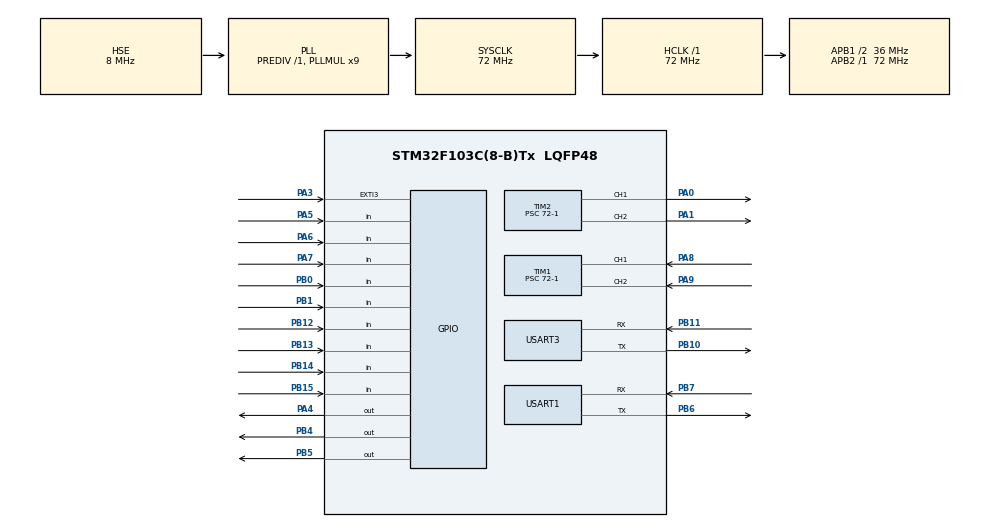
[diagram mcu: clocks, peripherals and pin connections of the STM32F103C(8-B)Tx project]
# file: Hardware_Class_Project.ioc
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Mcu.Family=STM32F1
Mcu.Name=STM32F103C(8-B)Tx
Mcu.Package=LQFP48
NVIC.EXTI3_IRQn=true\:4\:0\:true\:false\:true\:true\:true\:true
NVIC.PriorityGroup=NVIC_PRIORITYGROUP_4
NVIC.TIM1_CC_IRQn=true\:2\:0\:true\:false\:true\:true\:true\:true
NVIC.TIM3_IRQn=true\:3\:0\:true\:false\:true\:true\:true\:true
NVIC.USART1_IRQn=true\:0\:0\:false\:false\:true\:true\:true\:true
NVIC.USART3_IRQn=true\:1\:0\:true\:false\:true\:true\:true\:true
PA0-WKUP.Signal=S_TIM2_CH1_ETR
PA1.Signal=S_TIM2_CH2
PA13.Mode=Serial_Wire
PA13.Signal=SYS_JTMS-SWDIO
PA14.Mode=Serial_Wire
PA14.Signal=SYS_JTCK-SWCLK
PA3.GPIO_ModeDefaultEXTI=GPIO_MODE_IT_RISING
PA3.GPIO_PuPd=GPIO_PULLDOWN
PA3.Signal=GPXTI3
PA4.Signal=GPIO_Output
PA5.Signal=GPIO_Input
PA6.Signal=GPIO_Input
PA7.Signal=GPIO_Input
PA8.Signal=S_TIM1_CH1
PA9.Signal=S_TIM1_CH2
PB0.Signal=GPIO_Input
PB1.Signal=GPIO_Input
PB10.Mode=Asynchronous
PB10.Signal=USART3_TX
PB11.Mode=Asynchronous
PB11.Signal=USART3_RX
PB12.Signal=GPIO_Input
PB13.Signal=GPIO_Input
PB14.Signal=GPIO_Input
PB15.Signal=GPIO_Input
PB4.Signal=GPIO_Output
PB5.Signal=GPIO_Output
PB6.Mode=Asynchronous
PB6.Signal=USART1_TX
PB7.Mode=Asynchronous
PB7.Signal=USART1_RX
PD0-OSC_IN.Mode=HSE-External-Oscillator
PD0-OSC_IN.Signal=RCC_OSC_IN
PD1-OSC_OUT.Mode=HSE-External-Oscillator
PD1-OSC_OUT.Signal=RCC_OSC_OUT
ProjectManager.HeapSize=0x200
ProjectManager.StackSize=0x400
ProjectManager.TargetToolchain=MDK-ARM V5.32
RCC.AHBFreq_Value=72000000
RCC.APB1CLKDivider=RCC_HCLK_DIV2
RCC.APB1Freq_Value=36000000
RCC.APB1TimFreq_Value=72000000
RCC.APB2Freq_Value=72000000
RCC.APB2TimFreq_Value=72000000
RCC.HCLKFreq_Value=72000000
RCC.PLLMUL=RCC_PLL_MUL9
RCC.PLLSourceVirtual=RCC_PLLSOURCE_HSE
RCC.SYSCLKFreq_VALUE=72000000
RCC.SYSCLKSource=RCC_SYSCLKSOURCE_PLLCLK
RCC.USBFreq_Value=72000000
SH.S_TIM1_CH1.0=TIM1_CH1,Input_Capture1_from_TI1
SH.S_TIM1_CH2.0=TIM1_CH2,Input_Capture2_from_TI2
SH.S_TIM2_CH1_ETR.0=TIM2_CH1,PWM Generation1 CH1
SH.S_TIM2_CH2.0=TIM2_CH2,PWM Generation2 CH2
TIM1.Channel-Input_Capture1_from_TI1=TIM_CHANNEL_1
TIM1.Channel-Input_Capture2_from_TI2=TIM_CHANNEL_2
TIM1.Period=0xffff
TIM1.Prescaler=72-1
TIM2.Channel-PWM\ Generation1\ CH1=TIM_CHANNEL_1
TIM2.Channel-PWM\ Generation2\ CH2=TIM_CHANNEL_2
TIM2.Period=1000
TIM2.Prescaler=72-1
TIM3.Period=250-1
TIM3.Prescaler=7200-1
TIM4.Period=0xffff
TIM4.Prescaler=720-1
USART1.VirtualMode=VM_ASYNC
USART3.VirtualMode=VM_ASYNC
VP_TIM1_VS_ClockSourceINT.Mode=Internal
VP_TIM2_VS_ClockSourceINT.Mode=Internal
VP_TIM3_VS_ClockSourceINT.Mode=Internal
VP_TIM4_VS_ClockSourceINT.Mode=Internal
board=custom

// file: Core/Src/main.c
/* USER CODE BEGIN Header */
/**
  ******************************************************************************
  * @file           : main.c
  * @brief          : Main program body
  ******************************************************************************
  * @attention
  *
  * Copyright (c) 2023 STMicroelectronics.
  * All rights reserved.
  *
  * This software is licensed under terms that can be found in the LICENSE file
  * in the root directory of this software component.
  * If no LICENSE file comes with this software, it is provided AS-IS.
  *
  ******************************************************************************
  */
/* USER CODE END Header */
#include "main.h"
#include "tim.h"
#include "usart.h"
#include "gpio.h"

/* USER CODE BEGIN Includes */
#include "stdio.h"
#include <stdlib.h>
/* USER CODE END Includes */

/* USER CODE BEGIN PTD */
struct car_state
{
  float v_left;//左轮速度
  float v_right;//右轮速度
  float x_left;//左轮位移
  float x_right;//右轮位移
  float x_all;//总位移
  float v_target;//直线速度目标值 v_target=(v_left+v_right)/2
  float diff_v;//左轮和右轮的差速度
  uint8_t dis_line;//小车右侧距离黑线的距离
  uint8_t dis_target;
  uint8_t state;
  uint8_t task;
  float * x_left_targetArray;
};

struct pidstruct
{
  float kp,ki,kd;//p i d分别的系数，也是我们需要调节的值
  float p_value,i_value,d_value;//P项 I项 D项计算出来的值
  float i_integral;// 误差的积分值
  float thiserr,lasterr;//当前时刻的误差值 过去时刻的误差值 用于计算 i d
  unsigned char i_refresh_flag;
  unsigned char i_seprate_flag;
};

/* USER CODE END PTD */

/* USER CODE BEGIN PD */
#define threshold 25 //超声波阈值，大于判为无车，小于判为有车
#define wheel_len 20.42 //轮子周长 单位：cm
#define Speed_ratio 2564.1//编码器线数=13（每转一圈编码器产生的脉冲数） 减速比1：30  转速=1/(13*num*10^-6 *30) =2564.1/num (num为两次编码器脉冲之间测得的时钟计数个数)
/* USER CODE END PD */

/* USER CODE BEGIN PV */
GPIO_PinState judge1,judge2;
float catch1[3],catch2[3];//catch[0] 保存上次上升沿计数器的值 catch[1] 保存这次上升沿计数器的值 catch[2]保存两次计数器值的差
float mean_V1[10],mean_V2[10];
int index_V1,index_V2;
struct car_state now_car_state;
struct pidstruct Velocity_pidStruct_left;
struct pidstruct Velocity_pidStruct_right;
struct pidstruct Velocity_pidStruct_left_back;
struct pidstruct Velocity_pidStruct_right_back;
struct pidstruct Velocity_pidStruct_left_back_highspeed;
struct pidstruct Velocity_pidStruct_right_back_highspeed;
struct pidstruct* Velocity_pidStruct_left_points[3] = {&Velocity_pidStruct_left, &Velocity_pidStruct_left_back , &Velocity_pidStruct_left_back_highspeed};
struct pidstruct* Velocity_pidStruct_right_points[3] = {&Velocity_pidStruct_right, &Velocity_pidStruct_right_back , &Velocity_pidStruct_right_back_highspeed};
struct pidstruct Angle_pidStruct;
uint8_t Control_Flag = 1; //遥控模式的标志
uint8_t rx_buf1[2]={0,0};//uart1接收到的字符数据寄存数组
uint8_t rx_buf3[1]={0};//uart3接收到的字符数据寄存数组
//float x_left_targetArray1[6] = {0 , 0 , 32 , -20,15,-37};
float x_left_targetArray1[6] = {0 , 0 , 42 , -35,15,-26};
float x_left_targetArray2[6] = {0 , 25 , -38 , -17,9,0};
float distance;
int judge;
int judge_open_flag = 0; //开启超声波的标志 碰到第一个T字形之后置为1
/* USER CODE END PV */

void SystemClock_Config(void);
/* USER CODE BEGIN PFP */
void Wheel_Drive(int num,int pwm);
int fputc(int ch, FILE *f);
void HAL_TIM_IC_CaptureCallback(TIM_HandleTypeDef *htim);//输入捕获中断
// 小车状态结构体初始化函数 传入小车状态结构体、设定初始的目标公共速度、初始的差速度
void init_carStruct(struct car_state * now_car_state, float v_common, float v_diff);
//pid结构体初始化函数，分别传入kp ki kd值，以及要初始化的pid结构体的指针
void init_pidStruct( float kp, float ki, float kd, unsigned char i_refresh_flag, unsigned char i_seprate_flag, struct pidstruct * pidStruct_to_init);
//定时器2中断回调函数 进行PID更新
void HAL_TIM_PeriodElapsedCallback(TIM_HandleTypeDef *htim);
//pid输出值计算函数 传入已经初始化好的pid结构体的指针 此时的误差值 输出值（电压）的最大值 输出值的最小值 输出PID计算出的输出值
float PID(struct pidstruct * pidStruct_inited,float err,float outhigh,float outlow,unsigned char refresh_i_flag, unsigned char i_seprate_flag);
//串口中断回调函数
void HAL_UART_RxCpltCallback(UART_HandleTypeDef *huart);
void UART1_DataGet(uint8_t * databuf);
uint8_t infrared_value(int mode);/*mode1代表车头单路，mode2代表车尾单路，mode3代表五路*/
void WaveStart(void);
void HAL_GPIO_EXTI_Callback(uint16_t GPIO_Pin);
void UART3_DataGet(uint8_t * databuf);
/* USER CODE END PFP */

int main(void)
{

  /* MCU Configuration--------------------------------------------------------*/

  /* Reset of all peripherals, Initializes the Flash interface and the Systick. */
  HAL_Init();

  /* Configure the system clock */
  SystemClock_Config();

  /* Initialize all configured peripherals */
  MX_GPIO_Init();
  MX_TIM1_Init();
  MX_TIM2_Init();
  MX_USART1_UART_Init();
  MX_USART3_UART_Init();
  MX_TIM3_Init();
  MX_TIM4_Init();
  /* USER CODE BEGIN 2 */
  HAL_UART_Receive_IT(&huart1,rx_buf1,2);//等待uart1接收一个字节数据，并存入rxbuf1中
  HAL_UART_Receive_IT(&huart3,rx_buf3,2);//等待uart1接收一个字节数据，并存入rxbuf1中
  HAL_TIM_PWM_Start(&htim2,TIM_CHANNEL_1);//使能TIM2的PWM Channel1 输出 w1_pwm
  HAL_TIM_PWM_Start(&htim2,TIM_CHANNEL_2);//使能TIM2的PWM Channel2 输出 w2_pwm
  HAL_TIM_IC_Start_IT(&htim1,TIM_CHANNEL_1);//使能TIM1 CH3 CH4的输入捕获中断
  HAL_TIM_IC_Start_IT(&htim1,TIM_CHANNEL_2);
  __HAL_TIM_CLEAR_IT(&htim3,TIM_IT_UPDATE ); //清除IT标志位
	HAL_TIM_Base_Start_IT(&htim3);             //启动定时器3 定时器中断

  init_carStruct(&now_car_state, 0, 0.0);

  /********************v-target = 20 *****diff-v = 0 ***************************/
  // init_pidStruct(25, 0.8, 0.0,1, 0x0,  &Velocity_pidStruct_left);
  // init_pidStruct(25, 0.7, 0.0, 1, 0x0,&Velocity_pidStruct_right);
  /******************************************************************************/
  /********************v-target = -20 diff-v = 0 *******************************/
  init_pidStruct(25, 0.7, 0.0,1, 0x0,  &Velocity_pidStruct_left);
  init_pidStruct(25, 0.9, 0.0, 1, 0x0,&Velocity_pidStruct_right);
  /******************************************************************************/
  /********************v-target = 20 diff-v = 2 *********************************/
  // init_pidStruct(20, 0.5, 0.0,1, 0x0,  &Velocity_pidStruct_left);
  // init_pidStruct(40, 1.0, 0.0, 1, 0x0,&Velocity_pidStruct_right);
  /*******************************************************************************/
  /*******************v-target = -20 diff-v = 2 *********************************/
  // init_pidStruct(20, 0.8, 0.0,1, 0x0,  &Velocity_pidStruct_left);
  // init_pidStruct(40, 0.8, 0.0, 0, 0x0,&Velocity_pidStruct_right);
  /******************************************************************************/
  init_pidStruct(35, 0.15, 0.0,1, 0x80+10,  &Velocity_pidStruct_left_back);
  init_pidStruct(40, 0.15, 0.0, 1, 0x80+10,&Velocity_pidStruct_right_back);
  init_pidStruct(55, 0.15, 0.0,1, 0x80+15,  &Velocity_pidStruct_left_back_highspeed);
  init_pidStruct(52, 0.15, 0.0, 1, 0x80+15,&Velocity_pidStruct_right_back_highspeed);
  init_pidStruct(6, 0, 0, 0, 0x0, &Angle_pidStruct);//10

  /* USER CODE END 2 */

  /* Infinite loop */
  while (1)
  {

    /* USER CODE BEGIN 3 */
		WaveStart();
    HAL_Delay(200);

    //printf("judge = %d\tdistance=%.2f\n", judge, distance);

    //printf("state = %d, vt = %.2f\n", now_car_state.state, now_car_state.v_target);
    //printf("%d\n", infrared_value(3));
    //printf("vl=%.2f,vr=%.2f,vt=%.2f\n",now_car_state.v_left,now_car_state.v_right,now_car_state.v_target);
    //printf("%.2f,%.2f\n",now_car_state.v_left,now_car_state.v_right);
    // printf("dis_line = %.2f,diff_v = %.2f\n", now_car_state.dis_line, now_car_state.diff_v);
  }
  /* USER CODE END 3 */
}

void SystemClock_Config(void)
{
  RCC_OscInitTypeDef RCC_OscInitStruct = {0};
  RCC_ClkInitTypeDef RCC_ClkInitStruct = {0};

  /** Initializes the RCC Oscillators according to the specified parameters
  * in the RCC_OscInitTypeDef structure.
  */
  RCC_OscInitStruct.OscillatorType = RCC_OSCILLATORTYPE_HSE;
  RCC_OscInitStruct.HSEState = RCC_HSE_ON;
  RCC_OscInitStruct.HSEPredivValue = RCC_HSE_PREDIV_DIV1;
  RCC_OscInitStruct.HSIState = RCC_HSI_ON;
  RCC_OscInitStruct.PLL.PLLState = RCC_PLL_ON;
  RCC_OscInitStruct.PLL.PLLSource = RCC_PLLSOURCE_HSE;
  RCC_OscInitStruct.PLL.PLLMUL = RCC_PLL_MUL9;
  if (HAL_RCC_OscConfig(&RCC_OscInitStruct) != HAL_OK)
  {
    Error_Handler();
  }

  /** Initializes the CPU, AHB and APB buses clocks
  */
  RCC_ClkInitStruct.ClockType = RCC_CLOCKTYPE_HCLK|RCC_CLOCKTYPE_SYSCLK
                              |RCC_CLOCKTYPE_PCLK1|RCC_CLOCKTYPE_PCLK2;
  RCC_ClkInitStruct.SYSCLKSource = RCC_SYSCLKSOURCE_PLLCLK;
  RCC_ClkInitStruct.AHBCLKDivider = RCC_SYSCLK_DIV1;
  RCC_ClkInitStruct.APB1CLKDivider = RCC_HCLK_DIV2;
  RCC_ClkInitStruct.APB2CLKDivider = RCC_HCLK_DIV1;

  if (HAL_RCC_ClockConfig(&RCC_ClkInitStruct, FLASH_LATENCY_2) != HAL_OK)
  {
    Error_Handler();
  }
}

/* USER CODE BEGIN 4 */
void Wheel_Drive(int num,int pwm)
{
  if((num==1)||(num==2))
  {
    // 大小限幅 -1000<=pwm<=1000
    if(pwm>1000)
    {
      pwm=1000;
    }
    else if(pwm<-1000)
    {
      pwm=-1000;
    }
    switch(num)
    {
      case 1:
      {
        if(pwm>=0)
        {
          __HAL_TIM_SET_COMPARE(&htim2,TIM_CHANNEL_1,1000-pwm);
          HAL_GPIO_WritePin(GPIOB,GPIO_PIN_5,1);//w1_gpio_out 控制方向正转
        }
        else
        {
          __HAL_TIM_SET_COMPARE(&htim2,TIM_CHANNEL_1,-pwm);
          HAL_GPIO_WritePin(GPIOB,GPIO_PIN_5,0);//w1_gpio_out 控制方向反转
        }
      }
      break;
      case 2:
      {
        if(pwm>=0)
        {
          __HAL_TIM_SET_COMPARE(&htim2,TIM_CHANNEL_2,pwm);
          HAL_GPIO_WritePin(GPIOB,GPIO_PIN_4,0);//w2_gpio_out 控制方向正转
        }
        else
        {
          __HAL_TIM_SET_COMPARE(&htim2,TIM_CHANNEL_2,1000+pwm);
          HAL_GPIO_WritePin(GPIOB,GPIO_PIN_4,1);//w2_gpio_out 控制方向反转
        }
      }
      break;
      default:
      break;
    }
  }
}

int fputc(int ch, FILE *f)
{
	HAL_UART_Transmit(&huart1,(uint8_t*)&ch,1,10);
	return ch;
}

void HAL_TIM_IC_CaptureCallback(TIM_HandleTypeDef *htim)//输入捕获中断
{

  if(htim==&htim1 && htim->Channel == HAL_TIM_ACTIVE_CHANNEL_1)// w1
  {
      judge1=HAL_GPIO_ReadPin(GPIOB,GPIO_PIN_12);//捕获到w1B相上升沿时判断A相电平 高电平为正转，低电平为反转
      catch1[1] = HAL_TIM_ReadCapturedValue(htim,TIM_CHANNEL_1);//读取上升沿时计数器的值
      catch1[2] = catch1[1]- catch1[0];
      if(catch1[2]<=0)
      {
        catch1[2]+=0xffff;//两次上升沿出现在相邻的两个时钟周期
      }
      catch1[0] = catch1[1];//更新
      if(judge1 == GPIO_PIN_RESET)//正转
      {
          //now_car_state.x_left+=wheel_len/13/30;
          *(mean_V1+index_V1) = wheel_len/catch1[2]*Speed_ratio;
          index_V1++;
      }
      else//反转
      {
          //now_car_state.x_left-=wheel_len/13;
          *(mean_V1+index_V1) = -wheel_len/catch1[2]*Speed_ratio;
          index_V1++;
      }
      // *(mean_V1+index_V1) = wheel_len/catch1[2]*Speed_ratio;
      // index_V1++;
      if(index_V1==10)
      {
        now_car_state.v_left=(mean_V1[0]+mean_V1[1]+mean_V1[2]+mean_V1[3]+mean_V1[4]+mean_V1[5]+mean_V1[6]+mean_V1[7]+mean_V1[8]+mean_V1[9])/10;
        index_V1=0;
        //printf("%3.2lf\t",now_car_state.v_right);
      }
  }
    if(htim==&htim1 && htim->Channel == HAL_TIM_ACTIVE_CHANNEL_2)// w2
  {
      judge2=HAL_GPIO_ReadPin(GPIOB,GPIO_PIN_13);//捕获到w2B相上升沿时判断A相电平 高电平为正转，低电平为反转
      catch2[1] = HAL_TIM_ReadCapturedValue(htim,TIM_CHANNEL_2);//读取上升沿时计数器的值
      catch2[2] = catch2[1]- catch2[0];
      if(catch2[2]<=0)
      {
        catch2[2]+=0xffff;//两次上升沿出现在相邻的两个时钟周期
      }
      catch2[0] = catch2[1];//更新
      if(judge2 == GPIO_PIN_SET)//正转
      {
          now_car_state.x_right+=wheel_len/13/30;
          *(mean_V2+index_V2) = wheel_len/catch2[2]*Speed_ratio;
          index_V2++;
      }
      else//反转
      {
          now_car_state.x_right-=wheel_len;
          *(mean_V2+index_V2) = -wheel_len/catch2[2]*Speed_ratio;
          index_V2++;
      }
      // *(mean_V2+index_V2) = wheel_len/catch2[2]*Speed_ratio;
      // index_V2++;
      if(index_V2==10)
      {
        now_car_state.v_right=(mean_V2[0]+mean_V2[1]+mean_V2[2]+mean_V2[3]+mean_V2[4]+mean_V2[5]+mean_V2[6]+mean_V2[7]+mean_V2[8]+mean_V2[9])/10;
        //printf("%3.2lf\t",now_car_state.v_left);
        index_V2=0;
      }
  }

  //printf("%d\t",judge2);
}

// 小车状态结构体初始化函数 传入小车状态结构体、设定初始的目标公共速度、初始的差速度
void init_carStruct(struct car_state * now_car_state, float v_common, float v_diff)
{
  now_car_state->v_target = v_common;
  now_car_state->diff_v = v_diff;
  now_car_state->v_left = 0.0;
  now_car_state->v_right = 0.0;
  now_car_state->x_left = 0.0;
  now_car_state->x_right= 0.0;
  now_car_state->x_all = 0.0;
  now_car_state->dis_line = 0;
  now_car_state->state=0;//初始化为循迹模式
  now_car_state->task=0;//初始化为倒车入库任务
  now_car_state->x_left_targetArray = x_left_targetArray1;
}

//pid结构体初始化函数，分别传入kp ki kd值，以及要初始化的pid结构体的指针
void init_pidStruct( float kp, float ki, float kd, unsigned char i_refresh_flag, unsigned char i_seprate_flag, struct pidstruct * pidStruct_to_init)
{
  pidStruct_to_init->kp=kp;
  pidStruct_to_init->ki=ki;
  pidStruct_to_init->kd=kd;
  pidStruct_to_init->p_value=0;
  pidStruct_to_init->i_value=0;
  pidStruct_to_init->d_value=0;
  pidStruct_to_init->lasterr=0;
  pidStruct_to_init->thiserr=0;
  pidStruct_to_init->i_integral=0;
  pidStruct_to_init->i_refresh_flag = i_refresh_flag;
  pidStruct_to_init->i_seprate_flag = i_seprate_flag;
}

//pid输出值计算函数 传入已经初始化好的pid结构体的指针 此时的误差值 输出值（电压）的最大值 输出值的最小值 输出PID计算出的输出值
float PID(struct pidstruct * pidStruct_inited,float err,float outhigh,float outlow,unsigned char refresh_i_flag, unsigned char i_seprate_flag)
{
  float out_value;
  pidStruct_inited->thiserr = err;
  pidStruct_inited->p_value = pidStruct_inited->kp * pidStruct_inited->thiserr;//对当前误差值进行线性放大
  //积分项和微分项本应该还要乘以（除以）驱动周期T 但由于一般采用的是定时器中断进行驱动 所以T为常数 可以归为Ki Kd的值里面
  if((i_seprate_flag & 0x10 == 0x80) && (abs(err) > i_seprate_flag & 0x7f)) // 当采用积分分离模式并且误差值太大时，积分项为0
  {
    pidStruct_inited->i_value = 0.0;
  }
  else // 当不采用积分分离模式或者采用积分分离模式但是误差值较小时 进行积分项的计算
  {
    pidStruct_inited->i_integral += err;
    pidStruct_inited->i_value = pidStruct_inited->ki * (pidStruct_inited->i_integral);//对误差值进行累加和
    if(refresh_i_flag == 1)
    {
      if(pidStruct_inited->i_value > 0.5*outhigh || pidStruct_inited->i_value < 0.5*outlow)
      {
          init_pidStruct(pidStruct_inited->kp,pidStruct_inited->ki,pidStruct_inited->kd,pidStruct_inited->i_refresh_flag, pidStruct_inited->i_seprate_flag, pidStruct_inited);
      }
    }
  }
  pidStruct_inited->d_value = pidStruct_inited->kd * (pidStruct_inited->thiserr - pidStruct_inited->lasterr);//对误差值进行差分
  pidStruct_inited->lasterr = pidStruct_inited->thiserr;//更新误差
  out_value = pidStruct_inited->p_value + pidStruct_inited->i_value + pidStruct_inited->d_value;
  //对输出值进行限幅

  if(out_value > outhigh)
  {
    out_value = outhigh;
  }
  else if(out_value < outlow)
  {
    out_value = outlow;
  }
  return out_value;
}

//定时器2中断回调函数 进行PID更新
void HAL_TIM_PeriodElapsedCallback(TIM_HandleTypeDef *htim)
{
  int pidOUTpwm1_v,pidOUTpwm2_v;
	if(htim == &htim3)//定时器中断 更新pid
	{
    /*
    if(control_flag == 0)
    {
      Diff_Velocity=(int)PID( &Angle_pidStruct , now_car_state.angle_z_target-now_car_state.angle_z,now_car_state.v_target,-now_car_state.v_target,0);//差值最大为600
    }
    if(Diff_Velocity<2.5 && Diff_Velocity>-2.5)
    {
      Diff_Velocity=0;
    }
    pidOUTpwm3_v=(int)PID(  &Velocity_pidStruct_right , now_car_state.v_target+Diff_Velocity-now_car_state.v_right ,v_pid_outhigh,v_pid_outlow,0);
    pidOUTpwm4_v=(int)PID(  &Velocity_pidStruct_left , now_car_state.v_target-Diff_Velocity-now_car_state.v_left ,v_pid_outhigh,0.0,0);
    Wheel_Drive(3, pidOUTpwm3_v);
    Wheel_Drive(4, pidOUTpwm4_v);
    //每6s初始化一次角度pid
    if(pid_fresh_num == 300)
    {
      pid_fresh_num=0;
      init_pidStruct(Angle_pidStruct.kp,Angle_pidStruct.ki,Angle_pidStruct.kd,&Angle_pidStruct);
    }
    */
    if(Control_Flag == 0)
    {
      if(now_car_state.state == 5)//最后再向右后方行驶 完成入库操作
      {
        if(now_car_state.task == 1)
        {
          now_car_state.v_target = now_car_state.v_target > -20 ? now_car_state.v_target -2 : -20;
          now_car_state.diff_v = 0;
          if(abs(now_car_state.x_left - now_car_state.x_left_targetArray[5]) < 1) //如果向右后方行驶了设定的距离
          {
            now_car_state.v_target = 0;
            now_car_state.diff_v =0;
            now_car_state.state = 6;
            now_car_state.x_left = 0; //在开始左转之前将位移值清零
            judge_open_flag = 0;
          }
        }

      }
      else if(now_car_state.state == 4)
      {
        if(now_car_state.task == 1)// 倒车入库 右后方倒车完成 再次向左前方行驶
        {
          now_car_state.v_target = now_car_state.v_target < 20 ? now_car_state.v_target + 2 : 20;
          now_car_state.diff_v = now_car_state.diff_v < 5 ? now_car_state.diff_v + 0.5 : 5;
          if(abs(now_car_state.x_left - now_car_state.x_left_targetArray[4]) < 1) //如果向左前方行驶了设定的距离
          {
            now_car_state.v_target = 0;
            now_car_state.diff_v =0;
            now_car_state.state = 5;
            now_car_state.x_left = 0; //在开始左转之前将位移值清零
          }
        }
        else if(now_car_state.task == 2)//侧方停车 向右前方行驶一小段距离
        {
          now_car_state.v_target = now_car_state.v_target < 20 ? now_car_state.v_target + 2 : 20;
          now_car_state.diff_v = now_car_state.diff_v > -5 ? now_car_state.diff_v - 0.5 : -5;

          if(abs(now_car_state.x_left - now_car_state.x_left_targetArray[4]) < 1) //如果向左前方行驶了设定的距离
          {
            now_car_state.v_target = 0;
            now_car_state.diff_v =0;
            now_car_state.state = 6;
            now_car_state.x_left = 0; //在开始左转之前将位移值清零
            judge_open_flag = 0;
          }
        }
      }
      else if(now_car_state.state == 3)
      {
        if(now_car_state.task == 1)// 倒车入库 左前方行驶至目标点 开始向右后方倒车
        {
          now_car_state.v_target = now_car_state.v_target > -20 ? now_car_state.v_target - 2 : -20;
          now_car_state.diff_v = now_car_state.diff_v < 4 ? now_car_state.diff_v + 0.4 : 4;
          if(abs(now_car_state.x_left - now_car_state.x_left_targetArray[3]) < 1) //如果向右后方行驶了设定的距离
          {
            now_car_state.v_target = 0;
            now_car_state.diff_v =0;
            now_car_state.state = 5;
            now_car_state.x_left = 0; //在开始左转之前将位移值清零
          }
        }
        else if(now_car_state.task == 2) //侧方停车 车体大部分进入车库 向右后方倒车 摆正车体
        {
          // now_car_state.v_target = now_car_state.v_target > -25 ? now_car_state.v_target - 2.5 :-25;
          // now_car_state.diff_v = now_car_state.diff_v > -8 ? now_car_state.diff_v -0.8 : -8;
          now_car_state.v_target = -25;
          now_car_state.diff_v = -8;
          if(abs(now_car_state.x_left - now_car_state.x_left_targetArray[3]) < 1) //如果向右后方行驶了设定的距离
          {
            now_car_state.v_target = 0;
            now_car_state.diff_v =0;
            now_car_state.state = 4;
            now_car_state.x_left = 0; //在开始左转之前将位移值清零
            init_pidStruct(25, 0.7, 0.0,1, 0x0,  &Velocity_pidStruct_left);
            init_pidStruct(25, 0.9, 0.0, 1, 0x0,&Velocity_pidStruct_right);
          }
        }

      }
      else if(now_car_state.state == 2)
      {
        if(now_car_state.task == 1)//倒车入库 小车倒至车库开始线 开始向左前方行驶
        {
          now_car_state.v_target = now_car_state.v_target < 20 ? now_car_state.v_target + 2 : 20;
          now_car_state.diff_v = now_car_state.diff_v < 4 ? now_car_state.diff_v + 0.8 : 4;
          if(abs(now_car_state.x_left - now_car_state.x_left_targetArray[2]) < 1) //如果向左前方行驶了设定的距离
          {
            now_car_state.v_target = 0;
            now_car_state.diff_v =0;
            now_car_state.state = 3;
            now_car_state.x_left = 0; //在开始左转之前将位移值清零
          }
        }
        else if(now_car_state.task == 2)//侧方停车 小车在车库前面一段距离处开始向右后方倒车
        {
          now_car_state.v_target = now_car_state.v_target > -25 ? now_car_state.v_target - 2.5 : -25;
          now_car_state.diff_v = now_car_state.diff_v < 8 ? now_car_state.diff_v + 0.8 : 8;
          if(abs(now_car_state.x_left - now_car_state.x_left_targetArray[2]) < 1) //如果向右后方方行驶了设定的距离
          {
            now_car_state.v_target = 0;
            now_car_state.diff_v =0;
            now_car_state.state = 3;
            now_car_state.x_left = 0; //在开始左转之前将位移值清零
            init_pidStruct(25, 0.7, 0.0,1, 0x0,  &Velocity_pidStruct_left);
            init_pidStruct(35, 1.2, 0.0, 1, 0x0,&Velocity_pidStruct_right);
          }
        }
      }
      else if(now_car_state.state == 1)//循迹完成
      {
        if(now_car_state.task == 1)//倒车入库 循迹完成 开始倒车至车库开始线
        {
          now_car_state.v_target =  -20;//-15;
          now_car_state.diff_v = 0;
          if(((infrared_value(3) & 0x80) == 0x80) && (now_car_state.x_left<-25)) //再次检测到T字型 则改变状态
          {
            now_car_state.v_target =0;
            now_car_state.diff_v = 0 ;
            now_car_state.state = 2;
            now_car_state.x_left = 0; //在开始左转之前将位移值清零
          }
        }
        else if(now_car_state.task == 2)//侧方停车 循迹完成 继续前进一定距离
        {
          now_car_state.v_target = 20;
          //now_car_state.diff_v = 0;
          uint8_t dis_temp = infrared_value(3);
          if(((dis_temp & 0x80) == 0x00) )//如果读到的距边线的距离不为0，则进行距离的更新，否则不进行距离更新，防止出现黑线在两个传感器中间的情况
          {
            if(dis_temp != 0x00 )
            {
              now_car_state.dis_line =  dis_temp;
            }
            now_car_state.diff_v = PID( &Angle_pidStruct , 3 - now_car_state.dis_line, 20, -20, Angle_pidStruct.i_refresh_flag, Angle_pidStruct.i_seprate_flag);
          }
          if(abs(now_car_state.x_left - now_car_state.x_left_targetArray[1])<1)
          {
            now_car_state.v_target = 0;
            now_car_state.diff_v =0;
            now_car_state.state = 2;
            now_car_state.x_left = 0; //在开始左转之前将位移值清零
          }
        }
      }
      else if( now_car_state.state == 0) // 循迹模式
      {
        now_car_state.v_target = 15;
        uint8_t dis_temp = infrared_value(3);

        if(((dis_temp & 0x80) == 0x00) )//如果读到的距边线的距离不为0，则进行距离的更新，否则不进行距离更新，防止出现黑线在两个传感器中间的情况
        {
          if(dis_temp != 0x00 )
          {
            now_car_state.dis_line =  dis_temp;
          }
          if(now_car_state.task == 1)
          {
            if(judge_open_flag == 1 && now_car_state.x_left > 12 && now_car_state.x_left < 15 && judge == 1)
            {
              judge_open_flag = 3;
              now_car_state.dis_target = 2;
            }
            now_car_state.diff_v = PID( &Angle_pidStruct , now_car_state.dis_target - now_car_state.dis_line, 20, -20, Angle_pidStruct.i_refresh_flag, Angle_pidStruct.i_seprate_flag);
          }
          else if(now_car_state.task == 2)
          {
            if(judge_open_flag == 1 && now_car_state.x_left > 15 && now_car_state.x_left < 18 && judge == 1)
            {
              judge_open_flag = 3;
            }
            now_car_state.diff_v = PID( &Angle_pidStruct , 3 - now_car_state.dis_line, 20, -20, Angle_pidStruct.i_refresh_flag, Angle_pidStruct.i_seprate_flag);
          }
          //now_car_state.diff_v = PID( &Angle_pidStruct , 3 - now_car_state.dis_line, 20, -20, Angle_pidStruct.i_refresh_flag, Angle_pidStruct.i_seprate_flag);
        }
        else if((dis_temp & 0x80) == 0x80 ) //检测到T字型 改变状态
        {
          if(judge_open_flag == 3 ) // 已经开启过了超声波，此时碰到的T字形不是第一个,也就是经过了一个车库 judge == 1 表示车位空闲 可以进行停车
          {
            now_car_state.state = 1;
            now_car_state.v_target = 0;
            now_car_state.diff_v = 0;
          }
          else if(judge_open_flag == 0)
          {
            judge_open_flag = 1;
          }
          now_car_state.x_left = 0;
        }
      }

    }
    if(abs(now_car_state.v_left)>5)//5
    {
      now_car_state.x_left += now_car_state.v_left * 0.02 ;
    }
    //pidOUTpwm1_v=(int)PID(  Velocity_pidStruct_left_points[((now_car_state.v_target - now_car_state.diff_v)<=0)+(now_car_state.v_target - now_car_state.diff_v)<-30] , now_car_state.v_target - now_car_state.diff_v - now_car_state.v_left ,1000,-1000,Velocity_pidStruct_left.i_refresh_flag, Velocity_pidStruct_left.i_seprate_flag);
    //pidOUTpwm2_v=(int)PID(  Velocity_pidStruct_right_points[((now_car_state.v_target + now_car_state.diff_v)<=0)+(now_car_state.v_target + now_car_state.diff_v)<-30] , now_car_state.v_target + now_car_state.diff_v - now_car_state.v_right ,1000,-1000,Velocity_pidStruct_right.i_refresh_flag, Velocity_pidStruct_right.i_seprate_flag);
    pidOUTpwm1_v=(int)PID(  &Velocity_pidStruct_left, now_car_state.v_target - now_car_state.diff_v - now_car_state.v_left ,1000,-1000,Velocity_pidStruct_left.i_refresh_flag, Velocity_pidStruct_left.i_seprate_flag);
    pidOUTpwm2_v=(int)PID(  &Velocity_pidStruct_right , now_car_state.v_target + now_car_state.diff_v - now_car_state.v_right ,1000,-1000,Velocity_pidStruct_right.i_refresh_flag, Velocity_pidStruct_right.i_seprate_flag);
    Wheel_Drive(1, pidOUTpwm1_v);
    Wheel_Drive(2, pidOUTpwm2_v);
	}
}

//串口中断回调函数
void HAL_UART_RxCpltCallback(UART_HandleTypeDef *huart)
{
  if(huart == &huart1)
  {
    UART1_DataGet(rx_buf1);
    HAL_UART_AbortReceive_IT(&huart1);//终止正在进行的Rx传输
    HAL_UART_Receive_IT(&huart1,rx_buf1,2);//开启新一轮串口 等待2个字节数据 并写入
  }

  if(huart == &huart3)
  {
    UART1_DataGet(rx_buf3);
    HAL_UART_AbortReceive_IT(&huart3);//终止正在进行的Rx传输
    HAL_UART_Receive_IT(&huart3,rx_buf3,2);//开启新一轮串口 等待2个字节数据 并写入
  }
}

void UART1_DataGet(uint8_t * databuf)
{
  if(*databuf == 'c')
  {
    Control_Flag = 1;
    if(*(databuf+1) == 'l' ) // 左转
    {
      // Wheel_Drive(1,200);
      // Wheel_Drive(2,600);
      now_car_state.v_target = 20;
      now_car_state.diff_v = 5;
      // init_pidStruct(40, 0.8, 0.0,0, 0x0,  &Velocity_pidStruct_left);
      // init_pidStruct(20, 0.8, 0.0, 1, 0x0,&Velocity_pidStruct_right);
    }
    else if(*(databuf+1) == 'r' ) // 右转
    {
      // Wheel_Drive(1,600);
      // Wheel_Drive(2,200);
      now_car_state.v_target = 20;
      now_car_state.diff_v = -5;
      //now_car_state.diff_v += 5;
    }
    else if(*(databuf+1) == 'f' ) // 前进
    {
      // Wheel_Drive(1,400);
      // Wheel_Drive(2,400);
      now_car_state.v_target = 20;
      now_car_state.diff_v = 0;
      init_pidStruct(25, 0.8, 0.0,1, 0x0,  &Velocity_pidStruct_left);
      init_pidStruct(25, 0.7, 0.0, 1, 0x0,&Velocity_pidStruct_right);
    }
    else if(*(databuf+1) == 'b' ) // 后退
    {
      // Wheel_Drive(1,-400);
      // Wheel_Drive(2,-400);
      now_car_state.v_target = -20;
      now_car_state.diff_v = 0;
      init_pidStruct(25, 0.7, 0.0,1, 0x0,  &Velocity_pidStruct_left);
      init_pidStruct(25, 0.9, 0.0, 1, 0x0,&Velocity_pidStruct_right);
    }
    else if(*(databuf+1) == 'R')
    {
      // now_car_state.v_target = -20;
      // now_car_state.diff_v = 2;
      now_car_state.v_target = -25;
      now_car_state.diff_v = -8;
      init_pidStruct(25, 0.7, 0.0,1, 0x0,  &Velocity_pidStruct_left);
      init_pidStruct(35, 1.2, 0.0, 1, 0x0,&Velocity_pidStruct_right);
    }
    else if(*(databuf+1) == 's' ) // 停止
    {
      // Wheel_Drive(1,0);
      // Wheel_Drive(2,0);
      now_car_state.v_target = 0;
      now_car_state.diff_v = 0;
      init_pidStruct(25, 0.7, 0.0,1, 0x0,  &Velocity_pidStruct_left);
      init_pidStruct(25, 0.9, 0.0, 1, 0x0,&Velocity_pidStruct_right);
    }
    else if(*(databuf+1) == 'c' ) // 转圈
    {
      // Wheel_Drive(1,-300);
      // Wheel_Drive(2,300);
      now_car_state.v_target = 0;
      now_car_state.diff_v = 30;
    }

  }
  else if(*databuf == 't')//完成任务模式
  {
    Control_Flag = 0;
    now_car_state.v_target = 20;
    now_car_state.diff_v =0 ;
    now_car_state.state = 0;
    now_car_state.x_left = 0;
    if(*(databuf+1)== '1' || *(databuf+1)== 1)
    {
      now_car_state.task = 1;
      now_car_state.x_left_targetArray = x_left_targetArray1;
      now_car_state.dis_target = 3;
      init_pidStruct(25, 0.7, 0.0,1, 0x0,  &Velocity_pidStruct_left);
      init_pidStruct(25, 0.9, 0.0, 1, 0x0,&Velocity_pidStruct_right);
    }
    else if(*(databuf+1)== '2' || *(databuf+1)== 2)
    {
      now_car_state.task = 2;
      now_car_state.x_left_targetArray = x_left_targetArray2;
      init_pidStruct(25, 0.7, 0.0,1, 0x0,  &Velocity_pidStruct_left);
      init_pidStruct(25, 0.9, 0.0, 1, 0x0,&Velocity_pidStruct_right);
    }
  }
}
void UART3_DataGet(uint8_t * databuf)
{
    //printf("%d\n",*(databuf));
    Control_Flag = 0;
    now_car_state.v_target = 20;
    now_car_state.diff_v =0 ;
    now_car_state.state = 0;
    now_car_state.x_left = 0;
    if(*(databuf)== 1)
    {
      now_car_state.task = 1;
      now_car_state.x_left_targetArray = x_left_targetArray1;
      now_car_state.dis_target = 3;
      init_pidStruct(25, 0.7, 0.0,1, 0x0,  &Velocity_pidStruct_left);
      init_pidStruct(25, 0.9, 0.0, 1, 0x0,&Velocity_pidStruct_right);
    }
    else if(*(databuf)== 2)
    {
      now_car_state.task = 2;
      now_car_state.x_left_targetArray = x_left_targetArray2;
      init_pidStruct(25, 0.7, 0.0,1, 0x0,  &Velocity_pidStruct_left);
      init_pidStruct(25, 0.9, 0.0, 1, 0x0,&Velocity_pidStruct_right);
    }
}
uint8_t infrared_value(int mode)
{/*mode1代表车头单路，mode2代表车尾单路，mode3代表五路*/
  uint8_t value =0x00;//返回值
  uint8_t num = 0;//5路检测到黑线的传感器数量
  switch (mode){
      case 1:
      {
          if(HAL_GPIO_ReadPin(GPIOB,GPIO_PIN_14)==GPIO_PIN_SET)
          {
            value = 0x01;
          }
          else
          {
            value= 0x00;
          }
          break;
      }
      case 2:
      {
          if(HAL_GPIO_ReadPin(GPIOB,GPIO_PIN_15)==GPIO_PIN_SET)
          {
            value= 0x01;
          }
          else
          {
            value= 0x00;
          }
          break;
      }
      case 3:
      {
          if (HAL_GPIO_ReadPin(GPIOA,GPIO_PIN_5)==GPIO_PIN_RESET)
          {
              value = 0x05;
              num++;
          }
          if (HAL_GPIO_ReadPin(GPIOA,GPIO_PIN_6)==GPIO_PIN_RESET)
          {
              value = 0x04;
              num++;
          }
          if (HAL_GPIO_ReadPin(GPIOA,GPIO_PIN_7)==GPIO_PIN_RESET)
          {
              value = 0x03;
              num++;
          }
          if (HAL_GPIO_ReadPin(GPIOB,GPIO_PIN_0)==GPIO_PIN_RESET)
          {
              value = 0x02;
              num++;
          }
          if (HAL_GPIO_ReadPin(GPIOB,GPIO_PIN_1)==GPIO_PIN_RESET)
          {
              value = 0x01;
              num++;
          }
          if(num>=2)
            value=value|0x80;
          break;
      }
      default:
      break;
  }
  return value;
}

void WaveStart(void)
{
    HAL_GPIO_WritePin(GPIOA,GPIO_PIN_4,GPIO_PIN_SET);
    for(int i=0;i<720;i++);
    HAL_GPIO_TogglePin(GPIOA,GPIO_PIN_4);
}
void HAL_GPIO_EXTI_Callback(uint16_t GPIO_Pin)
{
	if(HAL_GPIO_ReadPin(GPIOA,GPIO_PIN_3)!=GPIO_PIN_RESET)
	{
		HAL_TIM_Base_Start(&htim4);
		while(HAL_GPIO_ReadPin(GPIOA,GPIO_PIN_3)==GPIO_PIN_SET);
		HAL_TIM_Base_Stop(&htim4);
		distance=(__HAL_TIM_GetCounter(&htim4)*340)/2000.0;//因为计数器每加一是10us，转化为cm为单位*声速340*100/100000/2
		__HAL_TIM_SET_COUNTER (&htim4, 0);
		if(distance>threshold)
		{
			judge=1;
		}
		else
		{
			judge=0;
		}
	}
}

/* USER CODE END 4 */

void Error_Handler(void)
{
  __disable_irq();
  while (1)
  {
  }
}
